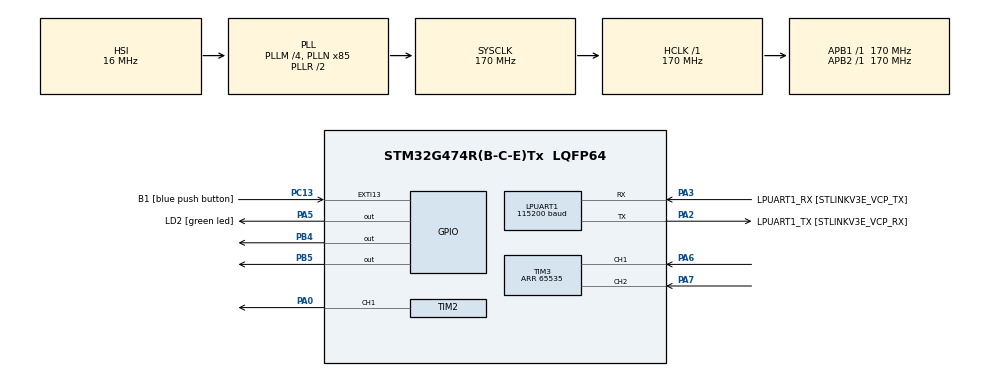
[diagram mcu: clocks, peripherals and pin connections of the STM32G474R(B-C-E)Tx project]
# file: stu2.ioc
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ARM.CMSIS-DSP.1.15.0.CMSISJjDSP=Source
ARM.CMSIS.5.9.0.CMSISJjCORE=true
LPUART1.BaudRate=115200
LPUART1.WordLength=UART_WORDLENGTH_8B
Mcu.Family=STM32G4
Mcu.Name=STM32G474R(B-C-E)Tx
Mcu.Package=LQFP64
NVIC.EXTI15_10_IRQn=true\:0\:0\:false\:false\:true\:true\:true\:true
NVIC.PriorityGroup=NVIC_PRIORITYGROUP_4
NVIC.TIM5_IRQn=true\:0\:0\:false\:false\:true\:true\:true\:true
PA0.Signal=S_TIM2_CH1
PA13.GPIO_Label=T_SWDIO
PA13.Mode=Trace_Asynchronous_SW
PA13.Signal=SYS_JTMS-SWDIO
PA14.GPIO_Label=T_SWCLK
PA14.Mode=Trace_Asynchronous_SW
PA14.Signal=SYS_JTCK-SWCLK
PA2.GPIO_Label=LPUART1_TX [STLINKV3E_VCP_RX]
PA2.Mode=Asynchronous
PA2.Signal=LPUART1_TX
PA3.GPIO_Label=LPUART1_RX [STLINKV3E_VCP_TX]
PA3.Mode=Asynchronous
PA3.Signal=LPUART1_RX
PA5.GPIO_Label=LD2 [green led]
PA5.Signal=GPIO_Output
PA6.Signal=S_TIM3_CH1
PA7.Signal=S_TIM3_CH2
PB3.GPIO_Label=T_SWO
PB3.Mode=Trace_Asynchronous_SW
PB3.Signal=SYS_JTDO-SWO
PB4.Signal=GPIO_Output
PB5.Signal=GPIO_Output
PC13.GPIO_Label=B1 [blue push button]
PC13.Signal=GPXTI13
PC14-OSC32_IN.Mode=LSE-External-Oscillator
PC14-OSC32_IN.Signal=RCC_OSC32_IN
PC15-OSC32_OUT.Mode=LSE-External-Oscillator
PC15-OSC32_OUT.Signal=RCC_OSC32_OUT
PF0-OSC_IN.Mode=HSE-External-Oscillator
PF0-OSC_IN.Signal=RCC_OSC_IN
PF1-OSC_OUT.Mode=HSE-External-Oscillator
PF1-OSC_OUT.Signal=RCC_OSC_OUT
ProjectManager.HeapSize=0x200
ProjectManager.StackSize=0x400
ProjectManager.TargetToolchain=STM32CubeIDE
RCC.ADC12Freq_Value=170000000
RCC.ADC345Freq_Value=170000000
RCC.AHBFreq_Value=170000000
RCC.APB1Freq_Value=170000000
RCC.APB1TimFreq_Value=170000000
RCC.APB2Freq_Value=170000000
RCC.APB2TimFreq_Value=170000000
RCC.CortexFreq_Value=170000000
RCC.EXTERNAL_CLOCK_VALUE=12288000
RCC.HCLKFreq_Value=170000000
RCC.HSE_VALUE=24000000
RCC.HSI48_VALUE=48000000
RCC.HSI_VALUE=16000000
RCC.PLLM=RCC_PLLM_DIV4
RCC.PLLN=85
RCC.RTCClockSelection=RCC_RTCCLKSOURCE_LSE
RCC.SYSCLKFreq_VALUE=170000000
RCC.SYSCLKSource=RCC_SYSCLKSOURCE_PLLCLK
RCC.USBFreq_Value=170000000
RCC.VCOOutputFreq_Value=340000000
SH.S_TIM2_CH1.0=TIM2_CH1,PWM Generation1 CH1
SH.S_TIM3_CH1.0=TIM3_CH1,Encoder_Interface
SH.S_TIM3_CH2.0=TIM3_CH2,Encoder_Interface
TIM2.Channel-PWM\ Generation1\ CH1=TIM_CHANNEL_1
TIM2.PeriodNoDither=1000
TIM2.Prescaler=17-1
TIM3.EncoderMode=TIM_ENCODERMODE_X1_TI1
TIM3.PeriodNoDither=65535
TIM5.PeriodNoDither=1000
TIM5.Prescaler=170-1
TIM5.TIM_MasterOutputTrigger=TIM_TRGO_RESET
VP_ARM.CMSIS-DSP_VS_CMSISJjDSP_1.15.0_1.15.0.Mode=CMSISJjDSP
VP_ARM.CMSIS_VS_CMSISJjCORE_5.6.0_5.9.0.Mode=CMSISJjCORE
VP_SYS_VS_DBSignals.Mode=DisableDeadBatterySignals
VP_TIM2_VS_ClockSourceINT.Mode=Internal
VP_TIM5_VS_ClockSourceINT.Mode=Internal
board=NUCLEO-G474RE

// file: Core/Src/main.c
/* USER CODE BEGIN Header */
/**
  ******************************************************************************
  * @file           : main.c
  * @brief          : Main program body
  ******************************************************************************
  * @attention
  *
  * Copyright (c) 2024 STMicroelectronics.
  * All rights reserved.
  *
  * This software is licensed under terms that can be found in the LICENSE file
  * in the root directory of this software component.
  * If no LICENSE file comes with this software, it is provided AS-IS.
  *
  ******************************************************************************
  */
/* USER CODE END Header */
#include "main.h"

/* USER CODE BEGIN Includes */
#include "arm_math.h"
/* USER CODE END Includes */

UART_HandleTypeDef hlpuart1;

TIM_HandleTypeDef htim2;
TIM_HandleTypeDef htim3;
TIM_HandleTypeDef htim5;

/* USER CODE BEGIN PV */
arm_pid_instance_f32 PID = {0};

int16_t QEIReadRaw;
int16_t QEIReadOld;
int32_t pos;
int32_t spd;
int32_t set_pos;
int16_t ch1;
int16_t ch2;

float Vfeedback = 0;

int16_t posi;

float setSpd;

int32_t maxSpd;
int32_t posMM;
/* USER CODE END PV */

void SystemClock_Config(void);
static void MX_GPIO_Init(void);
static void MX_LPUART1_UART_Init(void);
static void MX_TIM3_Init(void);
static void MX_TIM5_Init(void);
static void MX_TIM2_Init(void);

int main(void)
{

  /* MCU Configuration--------------------------------------------------------*/

  /* Reset of all peripherals, Initializes the Flash interface and the Systick. */
  HAL_Init();

  /* Configure the system clock */
  SystemClock_Config();

  /* Initialize all configured peripherals */
  MX_GPIO_Init();
  MX_LPUART1_UART_Init();
  MX_TIM3_Init();
  MX_TIM5_Init();
  MX_TIM2_Init();
  /* USER CODE BEGIN 2 */
  HAL_TIM_Encoder_Start(&htim3,TIM_CHANNEL_ALL);
  HAL_TIM_Base_Start_IT(&htim5);
  HAL_TIM_PWM_Start(&htim2, TIM_CHANNEL_1);
  HAL_TIM_PWM_Start(&htim2, TIM_CHANNEL_2);

  PID.Kp = 0.1;
  PID.Ki = 0;
  PID.Kd = 0;
  arm_pid_init_f32(&PID, 0);
  /* USER CODE END 2 */

  /* Infinite loop */
  while (1)
  {

    /* USER CODE BEGIN 3 */
	  arm_pid_init_f32(&PID, 0);

	  if(spd > maxSpd)
	  {
		  maxSpd = spd;
	  }

	  posMM = pos / 250 * 8 / 1;

	  set_pos = posi * 250 / 8 * 1;
	  if(Vfeedback > setSpd){
		  Vfeedback = setSpd;
	  }
	  if(Vfeedback < -setSpd){
	  	Vfeedback = -setSpd;
	  }

	  if(Vfeedback > 0)
	  {
		  HAL_GPIO_WritePin(GPIOB, GPIO_PIN_4, SET);
		  HAL_GPIO_WritePin(GPIOB, GPIO_PIN_5, RESET);
		  __HAL_TIM_SET_COMPARE(&htim2, TIM_CHANNEL_1, Vfeedback);
	  }
	  else
	  {
		  HAL_GPIO_WritePin(GPIOB, GPIO_PIN_4, RESET);
		  HAL_GPIO_WritePin(GPIOB, GPIO_PIN_5, SET);
		  __HAL_TIM_SET_COMPARE(&htim2, TIM_CHANNEL_1, -Vfeedback);
	  }

  }
  /* USER CODE END 3 */
}

void SystemClock_Config(void)
{
  RCC_OscInitTypeDef RCC_OscInitStruct = {0};
  RCC_ClkInitTypeDef RCC_ClkInitStruct = {0};

  /** Configure the main internal regulator output voltage
  */
  HAL_PWREx_ControlVoltageScaling(PWR_REGULATOR_VOLTAGE_SCALE1_BOOST);

  /** Initializes the RCC Oscillators according to the specified parameters
  * in the RCC_OscInitTypeDef structure.
  */
  RCC_OscInitStruct.OscillatorType = RCC_OSCILLATORTYPE_HSI;
  RCC_OscInitStruct.HSIState = RCC_HSI_ON;
  RCC_OscInitStruct.HSICalibrationValue = RCC_HSICALIBRATION_DEFAULT;
  RCC_OscInitStruct.PLL.PLLState = RCC_PLL_ON;
  RCC_OscInitStruct.PLL.PLLSource = RCC_PLLSOURCE_HSI;
  RCC_OscInitStruct.PLL.PLLM = RCC_PLLM_DIV4;
  RCC_OscInitStruct.PLL.PLLN = 85;
  RCC_OscInitStruct.PLL.PLLP = RCC_PLLP_DIV2;
  RCC_OscInitStruct.PLL.PLLQ = RCC_PLLQ_DIV2;
  RCC_OscInitStruct.PLL.PLLR = RCC_PLLR_DIV2;
  if (HAL_RCC_OscConfig(&RCC_OscInitStruct) != HAL_OK)
  {
    Error_Handler();
  }

  /** Initializes the CPU, AHB and APB buses clocks
  */
  RCC_ClkInitStruct.ClockType = RCC_CLOCKTYPE_HCLK|RCC_CLOCKTYPE_SYSCLK
                              |RCC_CLOCKTYPE_PCLK1|RCC_CLOCKTYPE_PCLK2;
  RCC_ClkInitStruct.SYSCLKSource = RCC_SYSCLKSOURCE_PLLCLK;
  RCC_ClkInitStruct.AHBCLKDivider = RCC_SYSCLK_DIV1;
  RCC_ClkInitStruct.APB1CLKDivider = RCC_HCLK_DIV1;
  RCC_ClkInitStruct.APB2CLKDivider = RCC_HCLK_DIV1;

  if (HAL_RCC_ClockConfig(&RCC_ClkInitStruct, FLASH_LATENCY_4) != HAL_OK)
  {
    Error_Handler();
  }
}

static void MX_LPUART1_UART_Init(void)
{

  hlpuart1.Instance = LPUART1;
  hlpuart1.Init.BaudRate = 115200;
  hlpuart1.Init.WordLength = UART_WORDLENGTH_8B;
  hlpuart1.Init.StopBits = UART_STOPBITS_1;
  hlpuart1.Init.Parity = UART_PARITY_NONE;
  hlpuart1.Init.Mode = UART_MODE_TX_RX;
  hlpuart1.Init.HwFlowCtl = UART_HWCONTROL_NONE;
  hlpuart1.Init.OneBitSampling = UART_ONE_BIT_SAMPLE_DISABLE;
  hlpuart1.Init.ClockPrescaler = UART_PRESCALER_DIV1;
  hlpuart1.AdvancedInit.AdvFeatureInit = UART_ADVFEATURE_NO_INIT;
  if (HAL_UART_Init(&hlpuart1) != HAL_OK)
  {
    Error_Handler();
  }
  if (HAL_UARTEx_SetTxFifoThreshold(&hlpuart1, UART_TXFIFO_THRESHOLD_1_8) != HAL_OK)
  {
    Error_Handler();
  }
  if (HAL_UARTEx_SetRxFifoThreshold(&hlpuart1, UART_RXFIFO_THRESHOLD_1_8) != HAL_OK)
  {
    Error_Handler();
  }
  if (HAL_UARTEx_DisableFifoMode(&hlpuart1) != HAL_OK)
  {
    Error_Handler();
  }

}

static void MX_TIM2_Init(void)
{

  TIM_ClockConfigTypeDef sClockSourceConfig = {0};
  TIM_MasterConfigTypeDef sMasterConfig = {0};
  TIM_OC_InitTypeDef sConfigOC = {0};

  htim2.Instance = TIM2;
  htim2.Init.Prescaler = 17-1;
  htim2.Init.CounterMode = TIM_COUNTERMODE_UP;
  htim2.Init.Period = 1000;
  htim2.Init.ClockDivision = TIM_CLOCKDIVISION_DIV1;
  htim2.Init.AutoReloadPreload = TIM_AUTORELOAD_PRELOAD_DISABLE;
  if (HAL_TIM_Base_Init(&htim2) != HAL_OK)
  {
    Error_Handler();
  }
  sClockSourceConfig.ClockSource = TIM_CLOCKSOURCE_INTERNAL;
  if (HAL_TIM_ConfigClockSource(&htim2, &sClockSourceConfig) != HAL_OK)
  {
    Error_Handler();
  }
  if (HAL_TIM_PWM_Init(&htim2) != HAL_OK)
  {
    Error_Handler();
  }
  sMasterConfig.MasterOutputTrigger = TIM_TRGO_RESET;
  sMasterConfig.MasterSlaveMode = TIM_MASTERSLAVEMODE_DISABLE;
  if (HAL_TIMEx_MasterConfigSynchronization(&htim2, &sMasterConfig) != HAL_OK)
  {
    Error_Handler();
  }
  sConfigOC.OCMode = TIM_OCMODE_PWM1;
  sConfigOC.Pulse = 0;
  sConfigOC.OCPolarity = TIM_OCPOLARITY_HIGH;
  sConfigOC.OCFastMode = TIM_OCFAST_DISABLE;
  if (HAL_TIM_PWM_ConfigChannel(&htim2, &sConfigOC, TIM_CHANNEL_1) != HAL_OK)
  {
    Error_Handler();
  }
  HAL_TIM_MspPostInit(&htim2);

}

static void MX_TIM3_Init(void)
{

  TIM_Encoder_InitTypeDef sConfig = {0};
  TIM_MasterConfigTypeDef sMasterConfig = {0};

  htim3.Instance = TIM3;
  htim3.Init.Prescaler = 0;
  htim3.Init.CounterMode = TIM_COUNTERMODE_UP;
  htim3.Init.Period = 65535;
  htim3.Init.ClockDivision = TIM_CLOCKDIVISION_DIV1;
  htim3.Init.AutoReloadPreload = TIM_AUTORELOAD_PRELOAD_DISABLE;
  sConfig.EncoderMode = TIM_ENCODERMODE_X1_TI1;
  sConfig.IC1Polarity = TIM_ICPOLARITY_RISING;
  sConfig.IC1Selection = TIM_ICSELECTION_DIRECTTI;
  sConfig.IC1Prescaler = TIM_ICPSC_DIV1;
  sConfig.IC1Filter = 0;
  sConfig.IC2Polarity = TIM_ICPOLARITY_RISING;
  sConfig.IC2Selection = TIM_ICSELECTION_DIRECTTI;
  sConfig.IC2Prescaler = TIM_ICPSC_DIV1;
  sConfig.IC2Filter = 0;
  if (HAL_TIM_Encoder_Init(&htim3, &sConfig) != HAL_OK)
  {
    Error_Handler();
  }
  sMasterConfig.MasterOutputTrigger = TIM_TRGO_RESET;
  sMasterConfig.MasterSlaveMode = TIM_MASTERSLAVEMODE_DISABLE;
  if (HAL_TIMEx_MasterConfigSynchronization(&htim3, &sMasterConfig) != HAL_OK)
  {
    Error_Handler();
  }

}

static void MX_TIM5_Init(void)
{

  TIM_ClockConfigTypeDef sClockSourceConfig = {0};
  TIM_MasterConfigTypeDef sMasterConfig = {0};

  htim5.Instance = TIM5;
  htim5.Init.Prescaler = 170-1;
  htim5.Init.CounterMode = TIM_COUNTERMODE_UP;
  htim5.Init.Period = 1000;
  htim5.Init.ClockDivision = TIM_CLOCKDIVISION_DIV1;
  htim5.Init.AutoReloadPreload = TIM_AUTORELOAD_PRELOAD_DISABLE;
  if (HAL_TIM_Base_Init(&htim5) != HAL_OK)
  {
    Error_Handler();
  }
  sClockSourceConfig.ClockSource = TIM_CLOCKSOURCE_INTERNAL;
  if (HAL_TIM_ConfigClockSource(&htim5, &sClockSourceConfig) != HAL_OK)
  {
    Error_Handler();
  }
  sMasterConfig.MasterOutputTrigger = TIM_TRGO_RESET;
  sMasterConfig.MasterSlaveMode = TIM_MASTERSLAVEMODE_DISABLE;
  if (HAL_TIMEx_MasterConfigSynchronization(&htim5, &sMasterConfig) != HAL_OK)
  {
    Error_Handler();
  }

}

static void MX_GPIO_Init(void)
{
  GPIO_InitTypeDef GPIO_InitStruct = {0};

  /* GPIO Ports Clock Enable */
  __HAL_RCC_GPIOC_CLK_ENABLE();
  __HAL_RCC_GPIOF_CLK_ENABLE();
  __HAL_RCC_GPIOA_CLK_ENABLE();
  __HAL_RCC_GPIOB_CLK_ENABLE();

  /*Configure GPIO pin Output Level */
  HAL_GPIO_WritePin(LD2_GPIO_Port, LD2_Pin, GPIO_PIN_RESET);

  /*Configure GPIO pin Output Level */
  HAL_GPIO_WritePin(GPIOB, GPIO_PIN_4|GPIO_PIN_5, GPIO_PIN_RESET);

  /*Configure GPIO pin : B1_Pin */
  GPIO_InitStruct.Pin = B1_Pin;
  GPIO_InitStruct.Mode = GPIO_MODE_IT_RISING;
  GPIO_InitStruct.Pull = GPIO_NOPULL;
  HAL_GPIO_Init(B1_GPIO_Port, &GPIO_InitStruct);

  /*Configure GPIO pin : LD2_Pin */
  GPIO_InitStruct.Pin = LD2_Pin;
  GPIO_InitStruct.Mode = GPIO_MODE_OUTPUT_PP;
  GPIO_InitStruct.Pull = GPIO_NOPULL;
  GPIO_InitStruct.Speed = GPIO_SPEED_FREQ_LOW;
  HAL_GPIO_Init(LD2_GPIO_Port, &GPIO_InitStruct);

  /*Configure GPIO pins : PB4 PB5 */
  GPIO_InitStruct.Pin = GPIO_PIN_4|GPIO_PIN_5;
  GPIO_InitStruct.Mode = GPIO_MODE_OUTPUT_PP;
  GPIO_InitStruct.Pull = GPIO_NOPULL;
  GPIO_InitStruct.Speed = GPIO_SPEED_FREQ_LOW;
  HAL_GPIO_Init(GPIOB, &GPIO_InitStruct);

  /* EXTI interrupt init*/
  HAL_NVIC_SetPriority(EXTI15_10_IRQn, 0, 0);
  HAL_NVIC_EnableIRQ(EXTI15_10_IRQn);

}

/* USER CODE BEGIN 4 */
void HAL_TIM_PeriodElapsedCallback(TIM_HandleTypeDef *htim)
{
  if (htim == &htim5 )
  {
	  QEIReadRaw = __HAL_TIM_GET_COUNTER(&htim3);
	  spd =  QEIReadRaw * 1000 / 250 * 8;
	  pos += QEIReadRaw;
	  QEIReadOld = QEIReadRaw;
	  __HAL_TIM_SET_COUNTER(&htim3, 0);

	  Vfeedback = (arm_pid_f32(&PID, set_pos - pos) * 1000);
  }
}
/* USER CODE END 4 */

void Error_Handler(void)
{
  __disable_irq();
  while (1)
  {
  }
}
